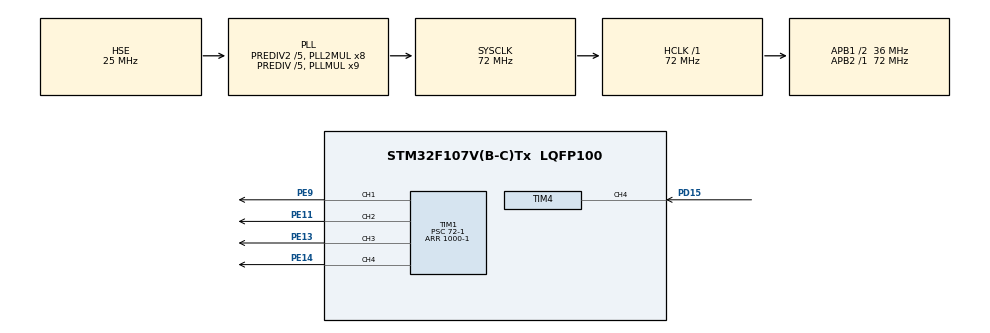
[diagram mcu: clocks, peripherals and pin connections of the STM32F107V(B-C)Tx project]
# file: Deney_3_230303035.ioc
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Mcu.Family=STM32F1
Mcu.Name=STM32F107V(B-C)Tx
Mcu.Package=LQFP100
NVIC.PriorityGroup=NVIC_PRIORITYGROUP_4
OSC_IN.Mode=HSE-External-Oscillator
OSC_IN.Signal=RCC_OSC_IN
OSC_OUT.Mode=HSE-External-Oscillator
OSC_OUT.Signal=RCC_OSC_OUT
PA13.Mode=Serial_Wire
PA13.Signal=SYS_JTMS-SWDIO
PA14.Mode=Serial_Wire
PA14.Signal=SYS_JTCK-SWCLK
PD15.Signal=S_TIM4_CH4
PE11.Signal=S_TIM1_CH2
PE13.Signal=S_TIM1_CH3
PE14.Signal=S_TIM1_CH4
PE9.Signal=S_TIM1_CH1
ProjectManager.HeapSize=0x200
ProjectManager.StackSize=0x400
ProjectManager.TargetToolchain=STM32CubeIDE
RCC.AHBFreq_Value=72000000
RCC.APB1CLKDivider=RCC_HCLK_DIV2
RCC.APB1Freq_Value=36000000
RCC.APB1TimFreq_Value=72000000
RCC.APB2Freq_Value=72000000
RCC.APB2TimFreq_Value=72000000
RCC.HCLKFreq_Value=72000000
RCC.HSEDivPLL=RCC_HSE_PREDIV_DIV5
RCC.HSE_VALUE=25000000
RCC.PLLMUL=RCC_PLL_MUL9
RCC.PLLSourceVirtual=RCC_PLLSOURCE_HSE
RCC.Prediv1Source=RCC_PREDIV1_SOURCE_PLL2
RCC.Prediv2=RCC_HSE_PREDIV2_DIV5
RCC.SYSCLKFreq_VALUE=72000000
RCC.SYSCLKSource=RCC_SYSCLKSOURCE_PLLCLK
RCC.USBFreq_Value=48000000
SH.S_TIM1_CH1.0=TIM1_CH1,PWM Generation1 CH1
SH.S_TIM1_CH2.0=TIM1_CH2,PWM Generation2 CH2
SH.S_TIM1_CH3.0=TIM1_CH3,PWM Generation3 CH3
SH.S_TIM1_CH4.0=TIM1_CH4,Output Compare4 CH4
SH.S_TIM4_CH4.0=TIM4_CH4,Input_Capture4_from_TI4
TIM1.Channel-Output\ Compare4\ CH4=TIM_CHANNEL_4
TIM1.Channel-PWM\ Generation1\ CH1=TIM_CHANNEL_1
TIM1.Channel-PWM\ Generation2\ CH2=TIM_CHANNEL_2
TIM1.Channel-PWM\ Generation3\ CH3=TIM_CHANNEL_3
TIM1.Period=1000-1
TIM1.Prescaler=72-1
TIM4.Channel-Input_Capture4_from_TI4=TIM_CHANNEL_4
TIM4.Prescaler=72-1
VP_TIM1_VS_ClockSourceINT.Mode=Internal
VP_TIM4_VS_ClockSourceINT.Mode=Internal
board=custom

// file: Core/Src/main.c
/* USER CODE BEGIN Header */
/**
  ******************************************************************************
  * @file           : main.c
  * @brief          : Main program body
  ******************************************************************************
  * @attention
  *
  * Copyright (c) 2026 STMicroelectronics.
  * All rights reserved.
  *
  * This software is licensed under terms that can be found in the LICENSE file
  * in the root directory of this software component.
  * If no LICENSE file comes with this software, it is provided AS-IS.
  *
  ******************************************************************************
  */
/* USER CODE END Header */
#include "main.h"

TIM_HandleTypeDef htim1;
TIM_HandleTypeDef htim4;

void SystemClock_Config(void);
static void MX_GPIO_Init(void);
static void MX_TIM1_Init(void);
static void MX_TIM4_Init(void);

/* USER CODE BEGIN 0 */
uint32_t Yakalanan_deger=0;
uint32_t periyod;
uint32_t frekans;
uint32_t Onceki_deger=0, Simdiki_deger=0;
/* USER CODE END 0 */

int main(void)
{

  /* MCU Configuration--------------------------------------------------------*/

  /* Reset of all peripherals, Initializes the Flash interface and the Systick. */
  HAL_Init();

  /* Configure the system clock */
  SystemClock_Config();

  /* Initialize all configured peripherals */
  MX_GPIO_Init();
  MX_TIM1_Init();
  MX_TIM4_Init();
  /* USER CODE BEGIN 2 */
  HAL_TIM_Base_Init(&htim1);
//  HAL_TIM_PWM_Start(&htim1, TIM_CHANNEL_1);
//  HAL_TIM_PWM_Start(&htim1, TIM_CHANNEL_2);
//  HAL_TIM_PWM_Start(&htim1, TIM_CHANNEL_3);
  HAL_TIM_PWM_Start(&htim1, TIM_CHANNEL_4);
  htim1.Instance->CCR4 = 50;
  htim1.Instance->ARR = 2000;
  HAL_TIM_Base_Start(&htim4);
  HAL_TIM_IC_Start_IT(&htim4, TIM_CHANNEL_4);
  /* USER CODE END 2 */

  /* Infinite loop */
  /* USER CODE BEGIN WHILE */
  while (1)
  {
//	  htim1.Instance->CCR1=100;
//	  HAL_Delay(5000);
//	  htim1.Instance->CCR1=0;
//	  htim1.Instance->CCR2=300;
//	  HAL_Delay(5000);
//	  htim1.Instance->CCR2=0;
//	  htim1.Instance->CCR3=600;
//	  HAL_Delay(5000);
//	  htim1.Instance->CCR3=0;
//	  htim1.Instance->CCR4=900;
//	  HAL_Delay(5000);
//	  htim1.Instance->CCR4=0;

	  Onceki_deger = Simdiki_deger;
	  Yakalanan_deger = HAL_TIM_ReadCapturedValue(&htim4, TIM_CHANNEL_4);
	  Simdiki_deger = Yakalanan_deger;
	  if(Simdiki_deger > Onceki_deger){
		  periyod = Simdiki_deger - Onceki_deger;
	  }
	  int tim_clk = 72000000/72;
	  if(periyod>0)
	  frekans = tim_clk/periyod;
    /* USER CODE END WHILE */

  }
}

void SystemClock_Config(void)
{
  RCC_OscInitTypeDef RCC_OscInitStruct = {0};
  RCC_ClkInitTypeDef RCC_ClkInitStruct = {0};

  /** Initializes the RCC Oscillators according to the specified parameters
  * in the RCC_OscInitTypeDef structure.
  */
  RCC_OscInitStruct.OscillatorType = RCC_OSCILLATORTYPE_HSE;
  RCC_OscInitStruct.HSEState = RCC_HSE_ON;
  RCC_OscInitStruct.HSEPredivValue = RCC_HSE_PREDIV_DIV5;
  RCC_OscInitStruct.HSIState = RCC_HSI_ON;
  RCC_OscInitStruct.Prediv1Source = RCC_PREDIV1_SOURCE_PLL2;
  RCC_OscInitStruct.PLL.PLLState = RCC_PLL_ON;
  RCC_OscInitStruct.PLL.PLLSource = RCC_PLLSOURCE_HSE;
  RCC_OscInitStruct.PLL.PLLMUL = RCC_PLL_MUL9;
  RCC_OscInitStruct.PLL2.PLL2State = RCC_PLL2_ON;
  RCC_OscInitStruct.PLL2.PLL2MUL = RCC_PLL2_MUL8;
  RCC_OscInitStruct.PLL2.HSEPrediv2Value = RCC_HSE_PREDIV2_DIV5;
  if (HAL_RCC_OscConfig(&RCC_OscInitStruct) != HAL_OK)
  {
    Error_Handler();
  }

  /** Initializes the CPU, AHB and APB buses clocks
  */
  RCC_ClkInitStruct.ClockType = RCC_CLOCKTYPE_HCLK|RCC_CLOCKTYPE_SYSCLK
                              |RCC_CLOCKTYPE_PCLK1|RCC_CLOCKTYPE_PCLK2;
  RCC_ClkInitStruct.SYSCLKSource = RCC_SYSCLKSOURCE_PLLCLK;
  RCC_ClkInitStruct.AHBCLKDivider = RCC_SYSCLK_DIV1;
  RCC_ClkInitStruct.APB1CLKDivider = RCC_HCLK_DIV2;
  RCC_ClkInitStruct.APB2CLKDivider = RCC_HCLK_DIV1;

  if (HAL_RCC_ClockConfig(&RCC_ClkInitStruct, FLASH_LATENCY_2) != HAL_OK)
  {
    Error_Handler();
  }

  /** Configure the Systick interrupt time
  */
  __HAL_RCC_PLLI2S_ENABLE();
}

static void MX_TIM1_Init(void)
{

  TIM_ClockConfigTypeDef sClockSourceConfig = {0};
  TIM_MasterConfigTypeDef sMasterConfig = {0};
  TIM_OC_InitTypeDef sConfigOC = {0};
  TIM_BreakDeadTimeConfigTypeDef sBreakDeadTimeConfig = {0};

  htim1.Instance = TIM1;
  htim1.Init.Prescaler = 72-1;
  htim1.Init.CounterMode = TIM_COUNTERMODE_UP;
  htim1.Init.Period = 1000-1;
  htim1.Init.ClockDivision = TIM_CLOCKDIVISION_DIV1;
  htim1.Init.RepetitionCounter = 0;
  htim1.Init.AutoReloadPreload = TIM_AUTORELOAD_PRELOAD_DISABLE;
  if (HAL_TIM_Base_Init(&htim1) != HAL_OK)
  {
    Error_Handler();
  }
  sClockSourceConfig.ClockSource = TIM_CLOCKSOURCE_INTERNAL;
  if (HAL_TIM_ConfigClockSource(&htim1, &sClockSourceConfig) != HAL_OK)
  {
    Error_Handler();
  }
  if (HAL_TIM_PWM_Init(&htim1) != HAL_OK)
  {
    Error_Handler();
  }
  if (HAL_TIM_OC_Init(&htim1) != HAL_OK)
  {
    Error_Handler();
  }
  sMasterConfig.MasterOutputTrigger = TIM_TRGO_RESET;
  sMasterConfig.MasterSlaveMode = TIM_MASTERSLAVEMODE_DISABLE;
  if (HAL_TIMEx_MasterConfigSynchronization(&htim1, &sMasterConfig) != HAL_OK)
  {
    Error_Handler();
  }
  sConfigOC.OCMode = TIM_OCMODE_PWM1;
  sConfigOC.Pulse = 0;
  sConfigOC.OCPolarity = TIM_OCPOLARITY_HIGH;
  sConfigOC.OCNPolarity = TIM_OCNPOLARITY_HIGH;
  sConfigOC.OCFastMode = TIM_OCFAST_DISABLE;
  sConfigOC.OCIdleState = TIM_OCIDLESTATE_RESET;
  sConfigOC.OCNIdleState = TIM_OCNIDLESTATE_RESET;
  if (HAL_TIM_PWM_ConfigChannel(&htim1, &sConfigOC, TIM_CHANNEL_1) != HAL_OK)
  {
    Error_Handler();
  }
  if (HAL_TIM_PWM_ConfigChannel(&htim1, &sConfigOC, TIM_CHANNEL_2) != HAL_OK)
  {
    Error_Handler();
  }
  if (HAL_TIM_PWM_ConfigChannel(&htim1, &sConfigOC, TIM_CHANNEL_3) != HAL_OK)
  {
    Error_Handler();
  }
  sConfigOC.OCMode = TIM_OCMODE_TIMING;
  if (HAL_TIM_OC_ConfigChannel(&htim1, &sConfigOC, TIM_CHANNEL_4) != HAL_OK)
  {
    Error_Handler();
  }
  sBreakDeadTimeConfig.OffStateRunMode = TIM_OSSR_DISABLE;
  sBreakDeadTimeConfig.OffStateIDLEMode = TIM_OSSI_DISABLE;
  sBreakDeadTimeConfig.LockLevel = TIM_LOCKLEVEL_OFF;
  sBreakDeadTimeConfig.DeadTime = 0;
  sBreakDeadTimeConfig.BreakState = TIM_BREAK_DISABLE;
  sBreakDeadTimeConfig.BreakPolarity = TIM_BREAKPOLARITY_HIGH;
  sBreakDeadTimeConfig.AutomaticOutput = TIM_AUTOMATICOUTPUT_DISABLE;
  if (HAL_TIMEx_ConfigBreakDeadTime(&htim1, &sBreakDeadTimeConfig) != HAL_OK)
  {
    Error_Handler();
  }
  HAL_TIM_MspPostInit(&htim1);

}

static void MX_TIM4_Init(void)
{

  TIM_ClockConfigTypeDef sClockSourceConfig = {0};
  TIM_MasterConfigTypeDef sMasterConfig = {0};
  TIM_IC_InitTypeDef sConfigIC = {0};

  htim4.Instance = TIM4;
  htim4.Init.Prescaler = 72-1;
  htim4.Init.CounterMode = TIM_COUNTERMODE_UP;
  htim4.Init.Period = 65535;
  htim4.Init.ClockDivision = TIM_CLOCKDIVISION_DIV1;
  htim4.Init.AutoReloadPreload = TIM_AUTORELOAD_PRELOAD_DISABLE;
  if (HAL_TIM_Base_Init(&htim4) != HAL_OK)
  {
    Error_Handler();
  }
  sClockSourceConfig.ClockSource = TIM_CLOCKSOURCE_INTERNAL;
  if (HAL_TIM_ConfigClockSource(&htim4, &sClockSourceConfig) != HAL_OK)
  {
    Error_Handler();
  }
  if (HAL_TIM_IC_Init(&htim4) != HAL_OK)
  {
    Error_Handler();
  }
  sMasterConfig.MasterOutputTrigger = TIM_TRGO_RESET;
  sMasterConfig.MasterSlaveMode = TIM_MASTERSLAVEMODE_DISABLE;
  if (HAL_TIMEx_MasterConfigSynchronization(&htim4, &sMasterConfig) != HAL_OK)
  {
    Error_Handler();
  }
  sConfigIC.ICPolarity = TIM_INPUTCHANNELPOLARITY_RISING;
  sConfigIC.ICSelection = TIM_ICSELECTION_DIRECTTI;
  sConfigIC.ICPrescaler = TIM_ICPSC_DIV1;
  sConfigIC.ICFilter = 0;
  if (HAL_TIM_IC_ConfigChannel(&htim4, &sConfigIC, TIM_CHANNEL_4) != HAL_OK)
  {
    Error_Handler();
  }

}

static void MX_GPIO_Init(void)
{

  /* GPIO Ports Clock Enable */
  __HAL_RCC_GPIOE_CLK_ENABLE();
  __HAL_RCC_GPIOD_CLK_ENABLE();
  __HAL_RCC_GPIOA_CLK_ENABLE();

}

void Error_Handler(void)
{
  __disable_irq();
  while (1)
  {
  }
}
